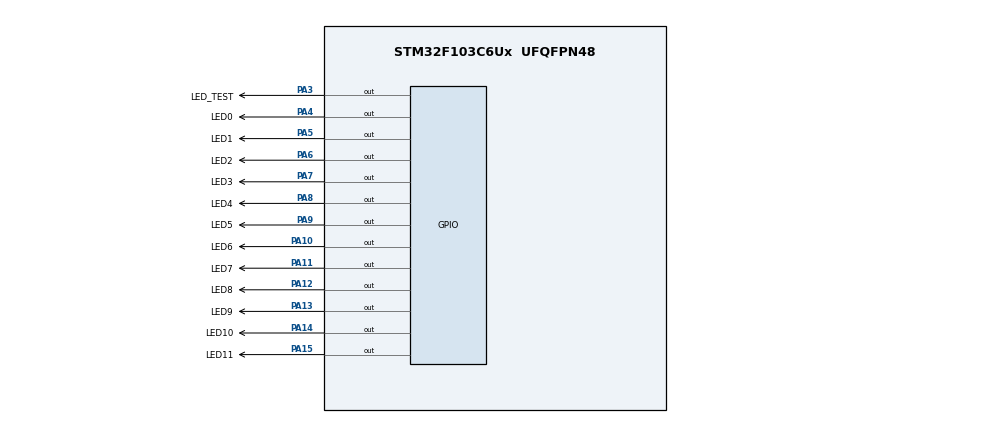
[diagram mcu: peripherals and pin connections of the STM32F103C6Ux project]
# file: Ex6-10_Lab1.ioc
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Mcu.Family=STM32F1
Mcu.Name=STM32F103C6Ux
Mcu.Package=UFQFPN48
NVIC.PriorityGroup=NVIC_PRIORITYGROUP_4
PA10.GPIO_Label=LED6
PA10.Signal=GPIO_Output
PA11.GPIO_Label=LED7
PA11.Signal=GPIO_Output
PA12.GPIO_Label=LED8
PA12.Signal=GPIO_Output
PA13.GPIO_Label=LED9
PA13.Signal=GPIO_Output
PA14.GPIO_Label=LED10
PA14.Signal=GPIO_Output
PA15.GPIO_Label=LED11
PA15.Signal=GPIO_Output
PA3.GPIO_Label=LED_TEST
PA3.Signal=GPIO_Output
PA4.GPIO_Label=LED0
PA4.Signal=GPIO_Output
PA5.GPIO_Label=LED1
PA5.Signal=GPIO_Output
PA6.GPIO_Label=LED2
PA6.Signal=GPIO_Output
PA7.GPIO_Label=LED3
PA7.Signal=GPIO_Output
PA8.GPIO_Label=LED4
PA8.Signal=GPIO_Output
PA9.GPIO_Label=LED5
PA9.Signal=GPIO_Output
ProjectManager.HeapSize=0x200
ProjectManager.StackSize=0x400
ProjectManager.TargetToolchain=STM32CubeIDE
RCC.APB1Freq_Value=8000000
RCC.APB2Freq_Value=8000000
VP_SYS_VS_ND.Mode=No_Debug
board=custom

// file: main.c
/* USER CODE BEGIN Header */
/**
  ******************************************************************************
  * @file           : main.c
  * @brief          : Main program body
  ******************************************************************************
  * @attention
  *
  * <h2><center>&copy; Copyright (c) 2025 STMicroelectronics.
  * All rights reserved.</center></h2>
  *
  * This software component is licensed by ST under BSD 3-Clause license,
  * the "License"; You may not use this file except in compliance with the
  * License. You may obtain a copy of the License at:
  *                        opensource.org/licenses/BSD-3-Clause
  *
  ******************************************************************************
  */
/* USER CODE END Header */
#include "main.h"

void SystemClock_Config(void);
static void MX_GPIO_Init(void);

int main(void)
{

  /* MCU Configuration--------------------------------------------------------*/

  /* Reset of all peripherals, Initializes the Flash interface and the Systick. */
  HAL_Init();

  /* Configure the system clock */
  SystemClock_Config();

  /* Initialize all configured peripherals */
  MX_GPIO_Init();

  /* Infinite loop */
  /* USER CODE BEGIN WHILE */

  //Ex7
  void clearAllClock() {
	    HAL_GPIO_WritePin(LED0_GPIO_Port, LED0_Pin, GPIO_PIN_SET);
	    HAL_GPIO_WritePin(LED1_GPIO_Port, LED1_Pin, GPIO_PIN_SET);
	    HAL_GPIO_WritePin(LED2_GPIO_Port, LED2_Pin, GPIO_PIN_SET);
	    HAL_GPIO_WritePin(LED3_GPIO_Port, LED3_Pin, GPIO_PIN_SET);
	    HAL_GPIO_WritePin(LED4_GPIO_Port, LED4_Pin, GPIO_PIN_SET);
	    HAL_GPIO_WritePin(LED5_GPIO_Port, LED5_Pin, GPIO_PIN_SET);
	    HAL_GPIO_WritePin(LED6_GPIO_Port, LED6_Pin, GPIO_PIN_SET);
	    HAL_GPIO_WritePin(LED7_GPIO_Port, LED7_Pin, GPIO_PIN_SET);
	    HAL_GPIO_WritePin(LED8_GPIO_Port, LED8_Pin, GPIO_PIN_SET);
	    HAL_GPIO_WritePin(LED9_GPIO_Port, LED9_Pin, GPIO_PIN_SET);
	    HAL_GPIO_WritePin(LED10_GPIO_Port, LED10_Pin, GPIO_PIN_SET);
	    HAL_GPIO_WritePin(LED11_GPIO_Port, LED11_Pin, GPIO_PIN_SET);
  }

  //Ex8
  void setNumberOnClock(int num) {
      switch (num) {
          case 0:  HAL_GPIO_WritePin(LED0_GPIO_Port,  LED0_Pin,  GPIO_PIN_RESET); break;
          case 1:  HAL_GPIO_WritePin(LED1_GPIO_Port,  LED1_Pin,  GPIO_PIN_RESET); break;
          case 2:  HAL_GPIO_WritePin(LED2_GPIO_Port,  LED2_Pin,  GPIO_PIN_RESET); break;
          case 3:  HAL_GPIO_WritePin(LED3_GPIO_Port,  LED3_Pin,  GPIO_PIN_RESET); break;
          case 4:  HAL_GPIO_WritePin(LED4_GPIO_Port,  LED4_Pin,  GPIO_PIN_RESET); break;
          case 5:  HAL_GPIO_WritePin(LED5_GPIO_Port,  LED5_Pin,  GPIO_PIN_RESET); break;
          case 6:  HAL_GPIO_WritePin(LED6_GPIO_Port,  LED6_Pin,  GPIO_PIN_RESET); break;
          case 7:  HAL_GPIO_WritePin(LED7_GPIO_Port,  LED7_Pin,  GPIO_PIN_RESET); break;
          case 8:  HAL_GPIO_WritePin(LED8_GPIO_Port,  LED8_Pin,  GPIO_PIN_RESET); break;
          case 9:  HAL_GPIO_WritePin(LED9_GPIO_Port,  LED9_Pin,  GPIO_PIN_RESET); break;
          case 10: HAL_GPIO_WritePin(LED10_GPIO_Port, LED10_Pin, GPIO_PIN_RESET); break;
          case 11: HAL_GPIO_WritePin(LED11_GPIO_Port, LED11_Pin, GPIO_PIN_RESET); break;
          default: break;
      }
  }

  void clearNumberOnClock(int num) {
      switch (num) {
          case 0:  HAL_GPIO_WritePin(LED0_GPIO_Port,  LED0_Pin,  GPIO_PIN_SET); break;
          case 1:  HAL_GPIO_WritePin(LED1_GPIO_Port,  LED1_Pin,  GPIO_PIN_SET); break;
          case 2:  HAL_GPIO_WritePin(LED2_GPIO_Port,  LED2_Pin,  GPIO_PIN_SET); break;
          case 3:  HAL_GPIO_WritePin(LED3_GPIO_Port,  LED3_Pin,  GPIO_PIN_SET); break;
          case 4:  HAL_GPIO_WritePin(LED4_GPIO_Port,  LED4_Pin,  GPIO_PIN_SET); break;
          case 5:  HAL_GPIO_WritePin(LED5_GPIO_Port,  LED5_Pin,  GPIO_PIN_SET); break;
          case 6:  HAL_GPIO_WritePin(LED6_GPIO_Port,  LED6_Pin,  GPIO_PIN_SET); break;
          case 7:  HAL_GPIO_WritePin(LED7_GPIO_Port,  LED7_Pin,  GPIO_PIN_SET); break;
          case 8:  HAL_GPIO_WritePin(LED8_GPIO_Port,  LED8_Pin,  GPIO_PIN_SET); break;
          case 9:  HAL_GPIO_WritePin(LED9_GPIO_Port,  LED9_Pin,  GPIO_PIN_SET); break;
          case 10: HAL_GPIO_WritePin(LED10_GPIO_Port, LED10_Pin, GPIO_PIN_SET); break;
          case 11: HAL_GPIO_WritePin(LED11_GPIO_Port, LED11_Pin, GPIO_PIN_SET); break;
          default: break;
      }
  }

//  int state = 0;
  int hour = 0;
  int minute = 0;
  int second = 0;
  while (1)
  {
	  //Ex6
//	  clearAllClock();
//	  switch (state) {
//	         case 0: HAL_GPIO_WritePin(LED0_GPIO_Port, LED0_Pin, GPIO_PIN_RESET); break;
//	         case 1: HAL_GPIO_WritePin(LED1_GPIO_Port, LED1_Pin, GPIO_PIN_RESET); break;
//	         case 2: HAL_GPIO_WritePin(LED2_GPIO_Port, LED2_Pin, GPIO_PIN_RESET); break;
//	         case 3: HAL_GPIO_WritePin(LED3_GPIO_Port, LED3_Pin, GPIO_PIN_RESET); break;
//	         case 4: HAL_GPIO_WritePin(LED4_GPIO_Port, LED4_Pin, GPIO_PIN_RESET); break;
//	         case 5: HAL_GPIO_WritePin(LED5_GPIO_Port, LED5_Pin, GPIO_PIN_RESET); break;
//	         case 6: HAL_GPIO_WritePin(LED6_GPIO_Port, LED6_Pin, GPIO_PIN_RESET); break;
//	         case 7: HAL_GPIO_WritePin(LED7_GPIO_Port, LED7_Pin, GPIO_PIN_RESET); break;
//	         case 8: HAL_GPIO_WritePin(LED8_GPIO_Port, LED8_Pin, GPIO_PIN_RESET); break;
//	         case 9: HAL_GPIO_WritePin(LED9_GPIO_Port, LED9_Pin, GPIO_PIN_RESET); break;
//	         case 10: HAL_GPIO_WritePin(LED10_GPIO_Port, LED10_Pin, GPIO_PIN_RESET); break;
//	         case 11: HAL_GPIO_WritePin(LED11_GPIO_Port, LED11_Pin, GPIO_PIN_RESET); break;
//	         default: break;
//	     }
//
//	  state++;
//	  state = state % 12;

	  //Ex10
	  clearAllClock();
	  int ledHour = hour % 12;
	  int ledMinute = (minute / 5) % 12;
	  int ledSecond = (second / 5) % 12;

	  setNumberOnClock(ledHour);
	  setNumberOnClock(ledMinute);
	  setNumberOnClock(ledSecond);

	  second++;
	  if (second >= 60) {
	     second = 0;
	     minute++;
	     if (minute >= 60) {
	         minute = 0;
	         hour++;
	         if (hour >= 12) hour = 0;
	     }
	  }

	  HAL_GPIO_TogglePin(LED_TEST_GPIO_Port, LED_TEST_Pin);
	  HAL_Delay(1000);
    /* USER CODE END WHILE */

  }
}

void SystemClock_Config(void)
{
  RCC_OscInitTypeDef RCC_OscInitStruct = {0};
  RCC_ClkInitTypeDef RCC_ClkInitStruct = {0};

  /** Initializes the RCC Oscillators according to the specified parameters
  * in the RCC_OscInitTypeDef structure.
  */
  RCC_OscInitStruct.OscillatorType = RCC_OSCILLATORTYPE_HSI;
  RCC_OscInitStruct.HSIState = RCC_HSI_ON;
  RCC_OscInitStruct.HSICalibrationValue = RCC_HSICALIBRATION_DEFAULT;
  RCC_OscInitStruct.PLL.PLLState = RCC_PLL_NONE;
  if (HAL_RCC_OscConfig(&RCC_OscInitStruct) != HAL_OK)
  {
    Error_Handler();
  }
  /** Initializes the CPU, AHB and APB buses clocks
  */
  RCC_ClkInitStruct.ClockType = RCC_CLOCKTYPE_HCLK|RCC_CLOCKTYPE_SYSCLK
                              |RCC_CLOCKTYPE_PCLK1|RCC_CLOCKTYPE_PCLK2;
  RCC_ClkInitStruct.SYSCLKSource = RCC_SYSCLKSOURCE_HSI;
  RCC_ClkInitStruct.AHBCLKDivider = RCC_SYSCLK_DIV1;
  RCC_ClkInitStruct.APB1CLKDivider = RCC_HCLK_DIV1;
  RCC_ClkInitStruct.APB2CLKDivider = RCC_HCLK_DIV1;

  if (HAL_RCC_ClockConfig(&RCC_ClkInitStruct, FLASH_LATENCY_0) != HAL_OK)
  {
    Error_Handler();
  }
}

static void MX_GPIO_Init(void)
{
  GPIO_InitTypeDef GPIO_InitStruct = {0};

  /* GPIO Ports Clock Enable */
  __HAL_RCC_GPIOA_CLK_ENABLE();

  /*Configure GPIO pin Output Level */
  HAL_GPIO_WritePin(GPIOA, LED_TEST_Pin|LED0_Pin|LED1_Pin|LED2_Pin
                          |LED3_Pin|LED4_Pin|LED5_Pin|LED6_Pin
                          |LED7_Pin|LED8_Pin|LED9_Pin|LED10_Pin
                          |LED11_Pin, GPIO_PIN_RESET);

  /*Configure GPIO pins : LED_TEST_Pin LED0_Pin LED1_Pin LED2_Pin
                           LED3_Pin LED4_Pin LED5_Pin LED6_Pin
                           LED7_Pin LED8_Pin LED9_Pin LED10_Pin
                           LED11_Pin */
  GPIO_InitStruct.Pin = LED_TEST_Pin|LED0_Pin|LED1_Pin|LED2_Pin
                          |LED3_Pin|LED4_Pin|LED5_Pin|LED6_Pin
                          |LED7_Pin|LED8_Pin|LED9_Pin|LED10_Pin
                          |LED11_Pin;
  GPIO_InitStruct.Mode = GPIO_MODE_OUTPUT_PP;
  GPIO_InitStruct.Pull = GPIO_NOPULL;
  GPIO_InitStruct.Speed = GPIO_SPEED_FREQ_LOW;
  HAL_GPIO_Init(GPIOA, &GPIO_InitStruct);

}

void Error_Handler(void)
{
  __disable_irq();
  while (1)
  {
  }
}

/************************ (C) COPYRIGHT STMicroelectronics *****END OF FILE****/
